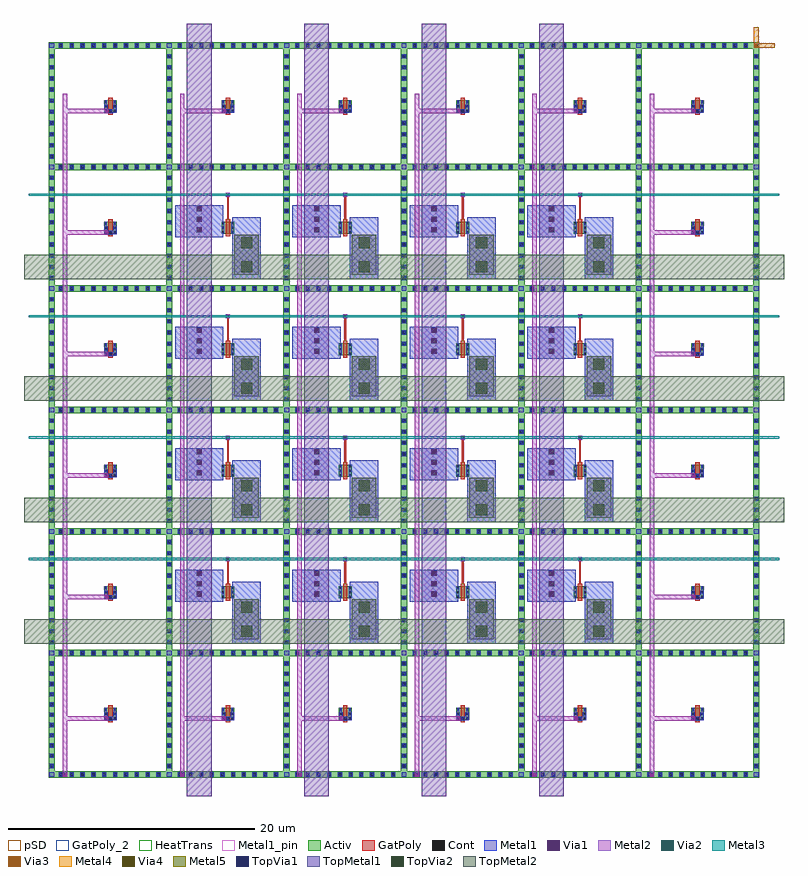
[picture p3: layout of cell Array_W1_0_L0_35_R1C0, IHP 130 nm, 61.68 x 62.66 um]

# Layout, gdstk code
import gdstk
lib = gdstk.Library(unit=1e-6, precision=1e-09)
def R(c, l, rs):  # rectangles x0, y0, x1, y1
    for r in rs: c.add(gdstk.rectangle(r[:2], r[2:], *l))
def A(c, l, x, y, w, h, nx, ny, dx, dy):  # array of equal rectangles
    R(c, l, [(x+i*dx, y+j*dy, x+i*dx+w, y+j*dy+h) for i in range(nx) for j in range(ny)])
Activ = (1, 0)
GatPoly = (5, 0)
GatPoly_2 = (5, 2)
Cont = (6, 0)
Metal1 = (8, 0)
Metal1_pin = (8, 2)
Metal2 = (10, 0)
pSD = (14, 0)
Via1 = (19, 0)
Via2 = (29, 0)
Metal3 = (30, 0)
Via3 = (49, 0)
Metal4 = (50, 0)
HeatTrans = (51, 0)
Via4 = (66, 0)
Metal5 = (67, 0)
TopVia1 = (125, 0)
TopMetal1 = (126, 0)
TopVia2 = (133, 0)
TopMetal2 = (134, 0)

array_w1_0_l0_35_r1c0 = lib.new_cell('Array_W1_0_L0_35_R1C0')
A(array_w1_0_l0_35_r1c0, Activ, 0, 0, 0.5, 59.66, 7, 1, 9.53, 0)
A(array_w1_0_l0_35_r1c0, Activ, 0, 0, 57.68, 0.5, 1, 7, 0, 9.86)
A(array_w1_0_l0_35_r1c0, Activ, 4.5, 4.68, 0.3, 0.3, 1, 6, 0, 9.86)
A(array_w1_0_l0_35_r1c0, Activ, 4.5, 4.68, 1.03, 1, 6, 6, 9.53, 9.86)
A(array_w1_0_l0_35_r1c0, Activ, 5.23, 4.68, 0.3, 0.3, 1, 6, 0, 9.86)
A(array_w1_0_l0_35_r1c0, Activ, 14.03, 4.68, 0.3, 0.3, 1, 6, 0, 9.86)
A(array_w1_0_l0_35_r1c0, Activ, 14.76, 4.68, 0.3, 0.3, 1, 6, 0, 9.86)
A(array_w1_0_l0_35_r1c0, Activ, 23.56, 4.68, 0.3, 0.3, 1, 6, 0, 9.86)
A(array_w1_0_l0_35_r1c0, Activ, 24.29, 4.68, 0.3, 0.3, 1, 6, 0, 9.86)
A(array_w1_0_l0_35_r1c0, Activ, 33.09, 4.68, 0.3, 0.3, 1, 6, 0, 9.86)
A(array_w1_0_l0_35_r1c0, Activ, 33.82, 4.68, 0.3, 0.3, 1, 6, 0, 9.86)
A(array_w1_0_l0_35_r1c0, Activ, 42.62, 4.68, 0.3, 0.3, 1, 6, 0, 9.86)
A(array_w1_0_l0_35_r1c0, Activ, 43.35, 4.68, 0.3, 0.3, 1, 6, 0, 9.86)
A(array_w1_0_l0_35_r1c0, Activ, 52.15, 4.68, 0.3, 0.3, 1, 6, 0, 9.86)
A(array_w1_0_l0_35_r1c0, Activ, 52.88, 4.68, 0.3, 0.3, 1, 6, 0, 9.86)
A(array_w1_0_l0_35_r1c0, GatPoly, 4.84, 4.5, 0.35, 1.36, 6, 6, 9.53, 9.86)
A(array_w1_0_l0_35_r1c0, GatPoly, 4.95, 4.78, 0.13, 0.2, 6, 2, 9.53, 49.3)
A(array_w1_0_l0_35_r1c0, GatPoly, 4.95, 14.64, 0.13, 0.2, 1, 4, 0, 9.86)
A(array_w1_0_l0_35_r1c0, GatPoly, 52.6, 14.64, 0.13, 0.2, 1, 4, 0, 9.86)
A(array_w1_0_l0_35_r1c0, GatPoly, 14.48, 15.72, 0.13, 2, 4, 4, 9.53, 9.86)
A(array_w1_0_l0_35_r1c0, GatPoly_2, 4.84, 4.5, 0.35, 1.36, 6, 6, 9.53, 9.86)
A(array_w1_0_l0_35_r1c0, Cont, 0.881, 0.14, 0.22, 0.22, 10, 7, 0.881, 9.86)
A(array_w1_0_l0_35_r1c0, Cont, 10.53, 0.14, 0.22, 0.22, 1, 7, 0, 9.86)
A(array_w1_0_l0_35_r1c0, Cont, 11.397, 0.14, 0.22, 0.22, 4, 7, 0.868, 9.86)
A(array_w1_0_l0_35_r1c0, Cont, 14.868, 0.14, 0.22, 0.22, 5, 7, 0.868, 9.86)
A(array_w1_0_l0_35_r1c0, Cont, 20.06, 0.14, 0.22, 0.22, 1, 7, 0, 9.86)
A(array_w1_0_l0_35_r1c0, Cont, 20.927, 0.14, 0.22, 0.22, 4, 7, 0.868, 9.86)
A(array_w1_0_l0_35_r1c0, Cont, 24.398, 0.14, 0.22, 0.22, 5, 7, 0.868, 9.86)
A(array_w1_0_l0_35_r1c0, Cont, 29.59, 0.14, 0.22, 0.22, 1, 7, 0, 9.86)
A(array_w1_0_l0_35_r1c0, Cont, 30.457, 0.14, 0.22, 0.22, 4, 7, 0.868, 9.86)
A(array_w1_0_l0_35_r1c0, Cont, 33.928, 0.14, 0.22, 0.22, 5, 7, 0.868, 9.86)
A(array_w1_0_l0_35_r1c0, Cont, 39.12, 0.14, 0.22, 0.22, 1, 7, 0, 9.86)
A(array_w1_0_l0_35_r1c0, Cont, 39.987, 0.14, 0.22, 0.22, 4, 7, 0.868, 9.86)
A(array_w1_0_l0_35_r1c0, Cont, 43.458, 0.14, 0.22, 0.22, 5, 7, 0.868, 9.86)
A(array_w1_0_l0_35_r1c0, Cont, 48.65, 0.14, 0.22, 0.22, 1, 7, 0, 9.86)
A(array_w1_0_l0_35_r1c0, Cont, 49.517, 0.14, 0.22, 0.22, 4, 7, 0.868, 9.86)
A(array_w1_0_l0_35_r1c0, Cont, 52.988, 0.14, 0.22, 0.22, 5, 7, 0.868, 9.86)
A(array_w1_0_l0_35_r1c0, Cont, 0.14, 0.83, 0.22, 0.22, 7, 11, 9.53, 0.831)
A(array_w1_0_l0_35_r1c0, Cont, 4.905, 4.67, 0.22, 0.22, 6, 2, 9.53, 49.3)
A(array_w1_0_l0_35_r1c0, Cont, 4.57, 4.75, 0.16, 0.16, 1, 3, 0, 0.35)
A(array_w1_0_l0_35_r1c0, Cont, 5.3, 4.75, 0.16, 0.16, 1, 3, 0, 0.35)
A(array_w1_0_l0_35_r1c0, Cont, 14.1, 4.75, 0.16, 0.16, 1, 3, 0, 0.35)
A(array_w1_0_l0_35_r1c0, Cont, 14.83, 4.75, 0.16, 0.16, 1, 3, 0, 0.35)
A(array_w1_0_l0_35_r1c0, Cont, 23.63, 4.75, 0.16, 0.16, 1, 3, 0, 0.35)
A(array_w1_0_l0_35_r1c0, Cont, 24.36, 4.75, 0.16, 0.16, 1, 3, 0, 0.35)
A(array_w1_0_l0_35_r1c0, Cont, 33.16, 4.75, 0.16, 0.16, 1, 3, 0, 0.35)
A(array_w1_0_l0_35_r1c0, Cont, 33.89, 4.75, 0.16, 0.16, 1, 3, 0, 0.35)
A(array_w1_0_l0_35_r1c0, Cont, 42.69, 4.75, 0.16, 0.16, 1, 3, 0, 0.35)
A(array_w1_0_l0_35_r1c0, Cont, 43.42, 4.75, 0.16, 0.16, 1, 3, 0, 0.35)
A(array_w1_0_l0_35_r1c0, Cont, 52.22, 4.75, 0.16, 0.16, 1, 3, 0, 0.35)
A(array_w1_0_l0_35_r1c0, Cont, 52.95, 4.75, 0.16, 0.16, 1, 3, 0, 0.35)
A(array_w1_0_l0_35_r1c0, Cont, 0.14, 10.86, 0.22, 0.22, 7, 3, 9.53, 0.904)
A(array_w1_0_l0_35_r1c0, Cont, 0.14, 13.573, 0.22, 0.22, 7, 2, 9.53, 0.904)
A(array_w1_0_l0_35_r1c0, Cont, 4.905, 14.53, 0.22, 0.22, 1, 4, 0, 9.86)
A(array_w1_0_l0_35_r1c0, Cont, 52.555, 14.53, 0.22, 0.22, 1, 4, 0, 9.86)
A(array_w1_0_l0_35_r1c0, Cont, 4.57, 14.61, 0.16, 0.16, 1, 3, 0, 0.35)
A(array_w1_0_l0_35_r1c0, Cont, 5.3, 14.61, 0.16, 0.16, 1, 3, 0, 0.35)
A(array_w1_0_l0_35_r1c0, Cont, 14.1, 14.61, 0.16, 0.16, 1, 3, 0, 0.35)
A(array_w1_0_l0_35_r1c0, Cont, 14.83, 14.61, 0.16, 0.16, 1, 3, 0, 0.35)
A(array_w1_0_l0_35_r1c0, Cont, 23.63, 14.61, 0.16, 0.16, 1, 3, 0, 0.35)
A(array_w1_0_l0_35_r1c0, Cont, 24.36, 14.61, 0.16, 0.16, 1, 3, 0, 0.35)
A(array_w1_0_l0_35_r1c0, Cont, 33.16, 14.61, 0.16, 0.16, 1, 3, 0, 0.35)
A(array_w1_0_l0_35_r1c0, Cont, 33.89, 14.61, 0.16, 0.16, 1, 3, 0, 0.35)
A(array_w1_0_l0_35_r1c0, Cont, 42.69, 14.61, 0.16, 0.16, 1, 3, 0, 0.35)
A(array_w1_0_l0_35_r1c0, Cont, 43.42, 14.61, 0.16, 0.16, 1, 3, 0, 0.35)
A(array_w1_0_l0_35_r1c0, Cont, 52.22, 14.61, 0.16, 0.16, 1, 3, 0, 0.35)
A(array_w1_0_l0_35_r1c0, Cont, 52.95, 14.61, 0.16, 0.16, 1, 3, 0, 0.35)
A(array_w1_0_l0_35_r1c0, Cont, 0.14, 15.382, 0.22, 0.22, 7, 2, 9.53, 0.904)
A(array_w1_0_l0_35_r1c0, Cont, 0.14, 17.191, 0.22, 0.22, 7, 2, 9.53, 0.904)
A(array_w1_0_l0_35_r1c0, Cont, 14.435, 17.61, 0.22, 0.22, 4, 4, 9.53, 9.86)
A(array_w1_0_l0_35_r1c0, Cont, 0.14, 19, 0.22, 0.22, 7, 2, 9.53, 1.72)
A(array_w1_0_l0_35_r1c0, Cont, 0.14, 21.624, 0.22, 0.22, 7, 2, 9.53, 0.904)
A(array_w1_0_l0_35_r1c0, Cont, 0.14, 23.433, 0.22, 0.22, 7, 2, 9.53, 0.904)
A(array_w1_0_l0_35_r1c0, Cont, 4.57, 24.47, 0.16, 0.16, 1, 3, 0, 0.35)
A(array_w1_0_l0_35_r1c0, Cont, 5.3, 24.47, 0.16, 0.16, 1, 3, 0, 0.35)
A(array_w1_0_l0_35_r1c0, Cont, 14.1, 24.47, 0.16, 0.16, 1, 3, 0, 0.35)
A(array_w1_0_l0_35_r1c0, Cont, 14.83, 24.47, 0.16, 0.16, 1, 3, 0, 0.35)
A(array_w1_0_l0_35_r1c0, Cont, 23.63, 24.47, 0.16, 0.16, 1, 3, 0, 0.35)
A(array_w1_0_l0_35_r1c0, Cont, 24.36, 24.47, 0.16, 0.16, 1, 3, 0, 0.35)
A(array_w1_0_l0_35_r1c0, Cont, 33.16, 24.47, 0.16, 0.16, 1, 3, 0, 0.35)
A(array_w1_0_l0_35_r1c0, Cont, 33.89, 24.47, 0.16, 0.16, 1, 3, 0, 0.35)
A(array_w1_0_l0_35_r1c0, Cont, 42.69, 24.47, 0.16, 0.16, 1, 3, 0, 0.35)
A(array_w1_0_l0_35_r1c0, Cont, 43.42, 24.47, 0.16, 0.16, 1, 3, 0, 0.35)
A(array_w1_0_l0_35_r1c0, Cont, 52.22, 24.47, 0.16, 0.16, 1, 3, 0, 0.35)
A(array_w1_0_l0_35_r1c0, Cont, 52.95, 24.47, 0.16, 0.16, 1, 3, 0, 0.35)
A(array_w1_0_l0_35_r1c0, Cont, 0.14, 25.242, 0.22, 0.22, 7, 2, 9.53, 0.904)
A(array_w1_0_l0_35_r1c0, Cont, 0.14, 27.051, 0.22, 0.22, 7, 2, 9.53, 0.904)
A(array_w1_0_l0_35_r1c0, Cont, 0.14, 28.86, 0.22, 0.22, 7, 2, 9.53, 1.72)
A(array_w1_0_l0_35_r1c0, Cont, 0.14, 31.484, 0.22, 0.22, 7, 2, 9.53, 0.904)
A(array_w1_0_l0_35_r1c0, Cont, 0.14, 33.293, 0.22, 0.22, 7, 2, 9.53, 0.904)
A(array_w1_0_l0_35_r1c0, Cont, 4.57, 34.33, 0.16, 0.16, 1, 3, 0, 0.35)
A(array_w1_0_l0_35_r1c0, Cont, 5.3, 34.33, 0.16, 0.16, 1, 3, 0, 0.35)
A(array_w1_0_l0_35_r1c0, Cont, 14.1, 34.33, 0.16, 0.16, 1, 3, 0, 0.35)
A(array_w1_0_l0_35_r1c0, Cont, 14.83, 34.33, 0.16, 0.16, 1, 3, 0, 0.35)
A(array_w1_0_l0_35_r1c0, Cont, 23.63, 34.33, 0.16, 0.16, 1, 3, 0, 0.35)
A(array_w1_0_l0_35_r1c0, Cont, 24.36, 34.33, 0.16, 0.16, 1, 3, 0, 0.35)
A(array_w1_0_l0_35_r1c0, Cont, 33.16, 34.33, 0.16, 0.16, 1, 3, 0, 0.35)
A(array_w1_0_l0_35_r1c0, Cont, 33.89, 34.33, 0.16, 0.16, 1, 3, 0, 0.35)
A(array_w1_0_l0_35_r1c0, Cont, 42.69, 34.33, 0.16, 0.16, 1, 3, 0, 0.35)
A(array_w1_0_l0_35_r1c0, Cont, 43.42, 34.33, 0.16, 0.16, 1, 3, 0, 0.35)
A(array_w1_0_l0_35_r1c0, Cont, 52.22, 34.33, 0.16, 0.16, 1, 3, 0, 0.35)
A(array_w1_0_l0_35_r1c0, Cont, 52.95, 34.33, 0.16, 0.16, 1, 3, 0, 0.35)
A(array_w1_0_l0_35_r1c0, Cont, 0.14, 35.102, 0.22, 0.22, 7, 2, 9.53, 0.904)
A(array_w1_0_l0_35_r1c0, Cont, 0.14, 36.911, 0.22, 0.22, 7, 2, 9.53, 0.904)
A(array_w1_0_l0_35_r1c0, Cont, 0.14, 38.72, 0.22, 0.22, 7, 2, 9.53, 1.72)
A(array_w1_0_l0_35_r1c0, Cont, 0.14, 41.344, 0.22, 0.22, 7, 2, 9.53, 0.904)
A(array_w1_0_l0_35_r1c0, Cont, 0.14, 43.153, 0.22, 0.22, 7, 2, 9.53, 0.904)
A(array_w1_0_l0_35_r1c0, Cont, 4.57, 44.19, 0.16, 0.16, 1, 3, 0, 0.35)
A(array_w1_0_l0_35_r1c0, Cont, 5.3, 44.19, 0.16, 0.16, 1, 3, 0, 0.35)
A(array_w1_0_l0_35_r1c0, Cont, 14.1, 44.19, 0.16, 0.16, 1, 3, 0, 0.35)
A(array_w1_0_l0_35_r1c0, Cont, 14.83, 44.19, 0.16, 0.16, 1, 3, 0, 0.35)
A(array_w1_0_l0_35_r1c0, Cont, 23.63, 44.19, 0.16, 0.16, 1, 3, 0, 0.35)
A(array_w1_0_l0_35_r1c0, Cont, 24.36, 44.19, 0.16, 0.16, 1, 3, 0, 0.35)
A(array_w1_0_l0_35_r1c0, Cont, 33.16, 44.19, 0.16, 0.16, 1, 3, 0, 0.35)
A(array_w1_0_l0_35_r1c0, Cont, 33.89, 44.19, 0.16, 0.16, 1, 3, 0, 0.35)
A(array_w1_0_l0_35_r1c0, Cont, 42.69, 44.19, 0.16, 0.16, 1, 3, 0, 0.35)
A(array_w1_0_l0_35_r1c0, Cont, 43.42, 44.19, 0.16, 0.16, 1, 3, 0, 0.35)
A(array_w1_0_l0_35_r1c0, Cont, 52.22, 44.19, 0.16, 0.16, 1, 3, 0, 0.35)
A(array_w1_0_l0_35_r1c0, Cont, 52.95, 44.19, 0.16, 0.16, 1, 3, 0, 0.35)
A(array_w1_0_l0_35_r1c0, Cont, 0.14, 44.962, 0.22, 0.22, 7, 2, 9.53, 0.904)
A(array_w1_0_l0_35_r1c0, Cont, 0.14, 46.771, 0.22, 0.22, 7, 2, 9.53, 0.904)
A(array_w1_0_l0_35_r1c0, Cont, 0.14, 48.58, 0.22, 0.22, 7, 2, 9.53, 1.72)
A(array_w1_0_l0_35_r1c0, Cont, 0.14, 51.204, 0.22, 0.22, 7, 2, 9.53, 0.904)
A(array_w1_0_l0_35_r1c0, Cont, 0.14, 53.013, 0.22, 0.22, 7, 2, 9.53, 0.904)
A(array_w1_0_l0_35_r1c0, Cont, 4.57, 54.05, 0.16, 0.16, 1, 3, 0, 0.35)
A(array_w1_0_l0_35_r1c0, Cont, 5.3, 54.05, 0.16, 0.16, 1, 3, 0, 0.35)
A(array_w1_0_l0_35_r1c0, Cont, 14.1, 54.05, 0.16, 0.16, 1, 3, 0, 0.35)
A(array_w1_0_l0_35_r1c0, Cont, 14.83, 54.05, 0.16, 0.16, 1, 3, 0, 0.35)
A(array_w1_0_l0_35_r1c0, Cont, 23.63, 54.05, 0.16, 0.16, 1, 3, 0, 0.35)
A(array_w1_0_l0_35_r1c0, Cont, 24.36, 54.05, 0.16, 0.16, 1, 3, 0, 0.35)
A(array_w1_0_l0_35_r1c0, Cont, 33.16, 54.05, 0.16, 0.16, 1, 3, 0, 0.35)
A(array_w1_0_l0_35_r1c0, Cont, 33.89, 54.05, 0.16, 0.16, 1, 3, 0, 0.35)
A(array_w1_0_l0_35_r1c0, Cont, 42.69, 54.05, 0.16, 0.16, 1, 3, 0, 0.35)
A(array_w1_0_l0_35_r1c0, Cont, 43.42, 54.05, 0.16, 0.16, 1, 3, 0, 0.35)
A(array_w1_0_l0_35_r1c0, Cont, 52.22, 54.05, 0.16, 0.16, 1, 3, 0, 0.35)
A(array_w1_0_l0_35_r1c0, Cont, 52.95, 54.05, 0.16, 0.16, 1, 3, 0, 0.35)
A(array_w1_0_l0_35_r1c0, Cont, 0.14, 54.822, 0.22, 0.22, 7, 2, 9.53, 0.904)
A(array_w1_0_l0_35_r1c0, Cont, 0.14, 56.631, 0.22, 0.22, 7, 2, 9.53, 0.904)
A(array_w1_0_l0_35_r1c0, Cont, 0.14, 58.44, 0.22, 0.22, 7, 1, 9.53, 0)
A(array_w1_0_l0_35_r1c0, Metal1, 0.821, 0.08, 0.34, 0.34, 10, 7, 0.881, 9.86)
A(array_w1_0_l0_35_r1c0, Metal1, 10.47, 0.08, 0.34, 0.34, 1, 7, 0, 9.86)
A(array_w1_0_l0_35_r1c0, Metal1, 11.337, 0.08, 0.34, 0.34, 4, 7, 0.868, 9.86)
A(array_w1_0_l0_35_r1c0, Metal1, 14.808, 0.08, 0.34, 0.34, 5, 7, 0.868, 9.86)
A(array_w1_0_l0_35_r1c0, Metal1, 20, 0.08, 0.34, 0.34, 1, 7, 0, 9.86)
A(array_w1_0_l0_35_r1c0, Metal1, 20.867, 0.08, 0.34, 0.34, 4, 7, 0.868, 9.86)
A(array_w1_0_l0_35_r1c0, Metal1, 24.338, 0.08, 0.34, 0.34, 5, 7, 0.868, 9.86)
A(array_w1_0_l0_35_r1c0, Metal1, 29.53, 0.08, 0.34, 0.34, 1, 7, 0, 9.86)
A(array_w1_0_l0_35_r1c0, Metal1, 30.397, 0.08, 0.34, 0.34, 4, 7, 0.868, 9.86)
A(array_w1_0_l0_35_r1c0, Metal1, 33.868, 0.08, 0.34, 0.34, 5, 7, 0.868, 9.86)
A(array_w1_0_l0_35_r1c0, Metal1, 39.06, 0.08, 0.34, 0.34, 1, 7, 0, 9.86)
A(array_w1_0_l0_35_r1c0, Metal1, 39.927, 0.08, 0.34, 0.34, 4, 7, 0.868, 9.86)
A(array_w1_0_l0_35_r1c0, Metal1, 43.398, 0.08, 0.34, 0.34, 5, 7, 0.868, 9.86)
A(array_w1_0_l0_35_r1c0, Metal1, 48.59, 0.08, 0.34, 0.34, 1, 7, 0, 9.86)
A(array_w1_0_l0_35_r1c0, Metal1, 49.457, 0.08, 0.34, 0.34, 4, 7, 0.868, 9.86)
A(array_w1_0_l0_35_r1c0, Metal1, 52.928, 0.08, 0.34, 0.34, 5, 7, 0.868, 9.86)
A(array_w1_0_l0_35_r1c0, Metal1, 0.08, 0.77, 0.34, 0.34, 7, 11, 9.53, 0.831)
A(array_w1_0_l0_35_r1c0, Metal1, 4.845, 4.61, 0.34, 0.34, 6, 2, 9.53, 49.3)
A(array_w1_0_l0_35_r1c0, Metal1, 4.51, 4.64, 0.28, 0.68, 1, 6, 0, 9.86)
A(array_w1_0_l0_35_r1c0, Metal1, 4.51, 4.64, 1.01, 0.28, 6, 2, 9.53, 49.3)
A(array_w1_0_l0_35_r1c0, Metal1, 5.24, 4.64, 0.28, 0.68, 1, 6, 0, 9.86)
A(array_w1_0_l0_35_r1c0, Metal1, 52.16, 4.64, 0.28, 0.68, 1, 6, 0, 9.86)
A(array_w1_0_l0_35_r1c0, Metal1, 52.89, 4.64, 0.28, 0.68, 1, 6, 0, 9.86)
A(array_w1_0_l0_35_r1c0, Metal1, 4.57, 4.68, 0.16, 1, 1, 6, 0, 9.86)
A(array_w1_0_l0_35_r1c0, Metal1, 5.3, 4.68, 0.16, 1, 1, 6, 0, 9.86)
A(array_w1_0_l0_35_r1c0, Metal1, 14.1, 4.68, 0.16, 1, 1, 6, 0, 9.86)
A(array_w1_0_l0_35_r1c0, Metal1, 14.83, 4.68, 0.16, 1, 1, 6, 0, 9.86)
A(array_w1_0_l0_35_r1c0, Metal1, 23.63, 4.68, 0.16, 1, 1, 6, 0, 9.86)
A(array_w1_0_l0_35_r1c0, Metal1, 24.36, 4.68, 0.16, 1, 1, 6, 0, 9.86)
A(array_w1_0_l0_35_r1c0, Metal1, 33.16, 4.68, 0.16, 1, 1, 6, 0, 9.86)
A(array_w1_0_l0_35_r1c0, Metal1, 33.89, 4.68, 0.16, 1, 1, 6, 0, 9.86)
A(array_w1_0_l0_35_r1c0, Metal1, 42.69, 4.68, 0.16, 1, 1, 6, 0, 9.86)
A(array_w1_0_l0_35_r1c0, Metal1, 43.42, 4.68, 0.16, 1, 1, 6, 0, 9.86)
A(array_w1_0_l0_35_r1c0, Metal1, 52.22, 4.68, 0.16, 1, 1, 6, 0, 9.86)
A(array_w1_0_l0_35_r1c0, Metal1, 52.95, 4.68, 0.16, 1, 1, 6, 0, 9.86)
A(array_w1_0_l0_35_r1c0, Metal1, 0.05, 9.91, 0.4, 0.4, 7, 6, 9.53, 9.86)
A(array_w1_0_l0_35_r1c0, Metal1, 0.08, 10.8, 0.34, 0.34, 7, 3, 9.53, 0.904)
A(array_w1_0_l0_35_r1c0, Metal1, 14.91, 10.86, 2.32, 5.02, 4, 4, 9.53, 9.86)
A(array_w1_0_l0_35_r1c0, Metal1, 0.08, 13.513, 0.34, 0.34, 7, 2, 9.53, 0.904)
A(array_w1_0_l0_35_r1c0, Metal1, 10.26, 14.26, 3.92, 2.61, 4, 4, 9.53, 9.86)
A(array_w1_0_l0_35_r1c0, Metal1, 4.845, 14.47, 0.34, 0.34, 1, 4, 0, 9.86)
A(array_w1_0_l0_35_r1c0, Metal1, 52.495, 14.47, 0.34, 0.34, 1, 4, 0, 9.86)
A(array_w1_0_l0_35_r1c0, Metal1, 4.51, 14.5, 1.01, 0.28, 1, 4, 0, 9.86)
A(array_w1_0_l0_35_r1c0, Metal1, 52.16, 14.5, 1.01, 0.28, 1, 4, 0, 9.86)
A(array_w1_0_l0_35_r1c0, Metal1, 0.08, 15.322, 0.34, 0.34, 7, 2, 9.53, 0.904)
A(array_w1_0_l0_35_r1c0, Metal1, 0.08, 17.131, 0.34, 0.34, 7, 2, 9.53, 0.904)
A(array_w1_0_l0_35_r1c0, Metal1, 14.385, 17.56, 0.32, 0.32, 4, 4, 9.53, 9.86)
A(array_w1_0_l0_35_r1c0, Metal1, 0.08, 18.94, 0.34, 0.34, 7, 2, 9.53, 1.72)
A(array_w1_0_l0_35_r1c0, Metal1, 0.08, 21.564, 0.34, 0.34, 7, 2, 9.53, 0.904)
A(array_w1_0_l0_35_r1c0, Metal1, 0.08, 23.373, 0.34, 0.34, 7, 2, 9.53, 0.904)
A(array_w1_0_l0_35_r1c0, Metal1, 0.08, 25.182, 0.34, 0.34, 7, 2, 9.53, 0.904)
A(array_w1_0_l0_35_r1c0, Metal1, 0.08, 26.991, 0.34, 0.34, 7, 2, 9.53, 0.904)
A(array_w1_0_l0_35_r1c0, Metal1, 0.08, 28.8, 0.34, 0.34, 7, 2, 9.53, 1.72)
A(array_w1_0_l0_35_r1c0, Metal1, 0.08, 31.424, 0.34, 0.34, 7, 2, 9.53, 0.904)
A(array_w1_0_l0_35_r1c0, Metal1, 0.08, 33.233, 0.34, 0.34, 7, 2, 9.53, 0.904)
A(array_w1_0_l0_35_r1c0, Metal1, 0.08, 35.042, 0.34, 0.34, 7, 2, 9.53, 0.904)
A(array_w1_0_l0_35_r1c0, Metal1, 0.08, 36.851, 0.34, 0.34, 7, 2, 9.53, 0.904)
A(array_w1_0_l0_35_r1c0, Metal1, 0.08, 38.66, 0.34, 0.34, 7, 2, 9.53, 1.72)
A(array_w1_0_l0_35_r1c0, Metal1, 0.08, 41.284, 0.34, 0.34, 7, 2, 9.53, 0.904)
A(array_w1_0_l0_35_r1c0, Metal1, 0.08, 43.093, 0.34, 0.34, 7, 2, 9.53, 0.904)
A(array_w1_0_l0_35_r1c0, Metal1, 0.08, 44.902, 0.34, 0.34, 7, 2, 9.53, 0.904)
A(array_w1_0_l0_35_r1c0, Metal1, 0.08, 46.711, 0.34, 0.34, 7, 2, 9.53, 0.904)
A(array_w1_0_l0_35_r1c0, Metal1, 0.08, 48.52, 0.34, 0.34, 7, 2, 9.53, 1.72)
A(array_w1_0_l0_35_r1c0, Metal1, 0.08, 51.144, 0.34, 0.34, 7, 2, 9.53, 0.904)
A(array_w1_0_l0_35_r1c0, Metal1, 0.08, 52.953, 0.34, 0.34, 7, 2, 9.53, 0.904)
A(array_w1_0_l0_35_r1c0, Metal1, 0.08, 54.762, 0.34, 0.34, 7, 2, 9.53, 0.904)
A(array_w1_0_l0_35_r1c0, Metal1, 0.08, 56.571, 0.34, 0.34, 7, 2, 9.53, 0.904)
A(array_w1_0_l0_35_r1c0, Metal1, 0.08, 58.38, 0.34, 0.34, 7, 1, 9.53, 0)
R(array_w1_0_l0_35_r1c0, Metal1, [(0.05,0.05,0.45,0.45), (1.115,0.05,1.515,0.45), (9.58,0.05,9.98,0.45), (10.645,0.05,11.045,0.45), (19.11,0.05,19.51,0.45), (20.175,0.05,20.575,0.45), (28.64,0.05,29.04,0.45), (29.705,0.05,30.105,0.45), (38.17,0.05,38.57,0.45), (39.235,0.05,39.635,0.45), (47.7,0.05,48.1,0.45), (48.765,0.05,49.165,0.45), (57.23,0.05,57.63,0.45), (14.04,4.64,14.32,5.32), (14.77,4.64,15.05,5.32), (23.57,4.64,23.85,5.32), (24.3,4.64,24.58,5.32), (33.1,4.64,33.38,5.32), (33.83,4.64,34.11,5.32), (42.63,4.64,42.91,5.32), (43.36,4.64,43.64,5.32), (14.04,53.94,14.32,54.62), (14.77,53.94,15.05,54.62), (23.57,53.94,23.85,54.62), (24.3,53.94,24.58,54.62), (33.1,53.94,33.38,54.62), (33.83,53.94,34.11,54.62), (42.63,53.94,42.91,54.62), (43.36,53.94,43.64,54.62)])
A(array_w1_0_l0_35_r1c0, Metal1_pin, 4.57, 4.68, 0.16, 1, 1, 6, 0, 9.86)
A(array_w1_0_l0_35_r1c0, Metal1_pin, 5.3, 4.68, 0.16, 1, 1, 6, 0, 9.86)
A(array_w1_0_l0_35_r1c0, Metal1_pin, 14.1, 4.68, 0.16, 1, 1, 6, 0, 9.86)
A(array_w1_0_l0_35_r1c0, Metal1_pin, 14.83, 4.68, 0.16, 1, 1, 6, 0, 9.86)
A(array_w1_0_l0_35_r1c0, Metal1_pin, 23.63, 4.68, 0.16, 1, 1, 6, 0, 9.86)
A(array_w1_0_l0_35_r1c0, Metal1_pin, 24.36, 4.68, 0.16, 1, 1, 6, 0, 9.86)
A(array_w1_0_l0_35_r1c0, Metal1_pin, 33.16, 4.68, 0.16, 1, 1, 6, 0, 9.86)
A(array_w1_0_l0_35_r1c0, Metal1_pin, 33.89, 4.68, 0.16, 1, 1, 6, 0, 9.86)
A(array_w1_0_l0_35_r1c0, Metal1_pin, 42.69, 4.68, 0.16, 1, 1, 6, 0, 9.86)
A(array_w1_0_l0_35_r1c0, Metal1_pin, 43.42, 4.68, 0.16, 1, 1, 6, 0, 9.86)
A(array_w1_0_l0_35_r1c0, Metal1_pin, 52.22, 4.68, 0.16, 1, 1, 6, 0, 9.86)
A(array_w1_0_l0_35_r1c0, Metal1_pin, 52.95, 4.68, 0.16, 1, 1, 6, 0, 9.86)
A(array_w1_0_l0_35_r1c0, Metal2, 1.135, 0.07, 0.36, 55.41, 6, 1, 9.53, 0)
A(array_w1_0_l0_35_r1c0, Metal2, 1.135, 4.6, 3.695, 0.36, 6, 2, 9.53, 49.3)
A(array_w1_0_l0_35_r1c0, Metal2, 15.915, 11.705, 0.31, 0.31, 4, 2, 9.53, 1.96)
A(array_w1_0_l0_35_r1c0, Metal2, 1.135, 14.46, 3.695, 0.36, 1, 4, 0, 9.86)
A(array_w1_0_l0_35_r1c0, Metal2, 48.785, 14.46, 3.695, 0.36, 1, 4, 0, 9.86)
A(array_w1_0_l0_35_r1c0, Metal2, 12.065, 14.735, 0.31, 0.31, 4, 3, 9.53, 0.84)
A(array_w1_0_l0_35_r1c0, Metal2, 14.4, 17.575, 0.29, 0.29, 4, 4, 9.53, 9.86)
A(array_w1_0_l0_35_r1c0, Metal2, 15.915, 21.565, 0.31, 0.31, 4, 2, 9.53, 1.96)
A(array_w1_0_l0_35_r1c0, Metal2, 12.065, 24.595, 0.31, 0.31, 4, 3, 9.53, 0.84)
A(array_w1_0_l0_35_r1c0, Metal2, 15.915, 31.425, 0.31, 0.31, 4, 2, 9.53, 1.96)
A(array_w1_0_l0_35_r1c0, Metal2, 12.065, 34.455, 0.31, 0.31, 4, 3, 9.53, 0.84)
A(array_w1_0_l0_35_r1c0, Metal2, 15.915, 41.285, 0.31, 0.31, 4, 2, 9.53, 1.96)
A(array_w1_0_l0_35_r1c0, Metal2, 12.065, 44.315, 0.31, 0.31, 4, 3, 9.53, 0.84)
R(array_w1_0_l0_35_r1c0, Metal2, [(57.25,59.23,57.61,59.59)])
A(array_w1_0_l0_35_r1c0, pSD, 0, 0, 0.5, 59.66, 7, 1, 9.53, 0)
A(array_w1_0_l0_35_r1c0, pSD, 0, 0, 57.68, 0.5, 1, 7, 0, 9.86)
A(array_w1_0_l0_35_r1c0, Via1, 1.22, 0.155, 0.19, 0.19, 6, 1, 9.53, 0)
A(array_w1_0_l0_35_r1c0, Via1, 4.555, 4.685, 0.19, 0.19, 6, 2, 9.53, 49.3)
A(array_w1_0_l0_35_r1c0, Via1, 15.975, 11.765, 0.19, 0.19, 4, 2, 9.53, 1.96)
A(array_w1_0_l0_35_r1c0, Via1, 4.555, 14.545, 0.19, 0.19, 1, 4, 0, 9.86)
A(array_w1_0_l0_35_r1c0, Via1, 52.205, 14.545, 0.19, 0.19, 1, 4, 0, 9.86)
A(array_w1_0_l0_35_r1c0, Via1, 12.125, 14.795, 0.19, 0.19, 4, 3, 9.53, 0.84)
A(array_w1_0_l0_35_r1c0, Via1, 14.45, 17.625, 0.19, 0.19, 4, 4, 9.53, 9.86)
A(array_w1_0_l0_35_r1c0, Via1, 15.975, 21.625, 0.19, 0.19, 4, 2, 9.53, 1.96)
A(array_w1_0_l0_35_r1c0, Via1, 12.125, 24.655, 0.19, 0.19, 4, 3, 9.53, 0.84)
A(array_w1_0_l0_35_r1c0, Via1, 15.975, 31.485, 0.19, 0.19, 4, 2, 9.53, 1.96)
A(array_w1_0_l0_35_r1c0, Via1, 12.125, 34.515, 0.19, 0.19, 4, 3, 9.53, 0.84)
A(array_w1_0_l0_35_r1c0, Via1, 15.975, 41.345, 0.19, 0.19, 4, 2, 9.53, 1.96)
A(array_w1_0_l0_35_r1c0, Via1, 12.125, 44.375, 0.19, 0.19, 4, 3, 9.53, 0.84)
R(array_w1_0_l0_35_r1c0, Via1, [(57.335,59.315,57.525,59.505)])
A(array_w1_0_l0_35_r1c0, Via2, 15.975, 11.765, 0.19, 0.19, 4, 2, 9.53, 1.96)
A(array_w1_0_l0_35_r1c0, Via2, 12.125, 14.795, 0.19, 0.19, 4, 3, 9.53, 0.84)
A(array_w1_0_l0_35_r1c0, Via2, 14.45, 17.625, 0.19, 0.19, 4, 4, 9.53, 9.86)
A(array_w1_0_l0_35_r1c0, Via2, 15.975, 21.625, 0.19, 0.19, 4, 2, 9.53, 1.96)
A(array_w1_0_l0_35_r1c0, Via2, 12.125, 24.655, 0.19, 0.19, 4, 3, 9.53, 0.84)
A(array_w1_0_l0_35_r1c0, Via2, 15.975, 31.485, 0.19, 0.19, 4, 2, 9.53, 1.96)
A(array_w1_0_l0_35_r1c0, Via2, 12.125, 34.515, 0.19, 0.19, 4, 3, 9.53, 0.84)
A(array_w1_0_l0_35_r1c0, Via2, 15.975, 41.345, 0.19, 0.19, 4, 2, 9.53, 1.96)
A(array_w1_0_l0_35_r1c0, Via2, 12.125, 44.375, 0.19, 0.19, 4, 3, 9.53, 0.84)
R(array_w1_0_l0_35_r1c0, Via2, [(57.335,59.315,57.525,59.505)])
A(array_w1_0_l0_35_r1c0, Metal3, 15.915, 11.705, 0.31, 0.31, 4, 2, 9.53, 1.96)
A(array_w1_0_l0_35_r1c0, Metal3, 12.065, 14.735, 0.31, 0.31, 4, 3, 9.53, 0.84)
A(array_w1_0_l0_35_r1c0, Metal3, -1.6, 17.62, 60.88, 0.2, 1, 4, 0, 9.86)
A(array_w1_0_l0_35_r1c0, Metal3, 14.445, 17.62, 0.2, 0.2, 4, 4, 9.53, 9.86)
A(array_w1_0_l0_35_r1c0, Metal3, 15.915, 21.565, 0.31, 0.31, 4, 2, 9.53, 1.96)
A(array_w1_0_l0_35_r1c0, Metal3, 12.065, 24.595, 0.31, 0.31, 4, 3, 9.53, 0.84)
A(array_w1_0_l0_35_r1c0, Metal3, 15.915, 31.425, 0.31, 0.31, 4, 2, 9.53, 1.96)
A(array_w1_0_l0_35_r1c0, Metal3, 12.065, 34.455, 0.31, 0.31, 4, 3, 9.53, 0.84)
A(array_w1_0_l0_35_r1c0, Metal3, 15.915, 41.285, 0.31, 0.31, 4, 2, 9.53, 1.96)
A(array_w1_0_l0_35_r1c0, Metal3, 12.065, 44.315, 0.31, 0.31, 4, 3, 9.53, 0.84)
R(array_w1_0_l0_35_r1c0, Metal3, [(57.33,59.31,57.53,59.51)])
A(array_w1_0_l0_35_r1c0, Via3, 15.975, 11.765, 0.19, 0.19, 4, 2, 9.53, 1.96)
A(array_w1_0_l0_35_r1c0, Via3, 12.125, 14.795, 0.19, 0.19, 4, 3, 9.53, 0.84)
A(array_w1_0_l0_35_r1c0, Via3, 15.975, 21.625, 0.19, 0.19, 4, 2, 9.53, 1.96)
A(array_w1_0_l0_35_r1c0, Via3, 12.125, 24.655, 0.19, 0.19, 4, 3, 9.53, 0.84)
A(array_w1_0_l0_35_r1c0, Via3, 15.975, 31.485, 0.19, 0.19, 4, 2, 9.53, 1.96)
A(array_w1_0_l0_35_r1c0, Via3, 12.125, 34.515, 0.19, 0.19, 4, 3, 9.53, 0.84)
A(array_w1_0_l0_35_r1c0, Via3, 15.975, 41.345, 0.19, 0.19, 4, 2, 9.53, 1.96)
A(array_w1_0_l0_35_r1c0, Via3, 12.125, 44.375, 0.19, 0.19, 4, 3, 9.53, 0.84)
R(array_w1_0_l0_35_r1c0, Via3, [(57.335,59.315,57.525,59.505)])
A(array_w1_0_l0_35_r1c0, Metal4, 15.915, 11.705, 0.31, 0.31, 4, 2, 9.53, 1.96)
A(array_w1_0_l0_35_r1c0, Metal4, 12.065, 14.735, 0.31, 0.31, 4, 3, 9.53, 0.84)
A(array_w1_0_l0_35_r1c0, Metal4, 15.915, 21.565, 0.31, 0.31, 4, 2, 9.53, 1.96)
A(array_w1_0_l0_35_r1c0, Metal4, 12.065, 24.595, 0.31, 0.31, 4, 3, 9.53, 0.84)
A(array_w1_0_l0_35_r1c0, Metal4, 15.915, 31.425, 0.31, 0.31, 4, 2, 9.53, 1.96)
A(array_w1_0_l0_35_r1c0, Metal4, 12.065, 34.455, 0.31, 0.31, 4, 3, 9.53, 0.84)
A(array_w1_0_l0_35_r1c0, Metal4, 15.915, 41.285, 0.31, 0.31, 4, 2, 9.53, 1.96)
A(array_w1_0_l0_35_r1c0, Metal4, 12.065, 44.315, 0.31, 0.31, 4, 3, 9.53, 0.84)
R(array_w1_0_l0_35_r1c0, Metal4, [(57.23,59.21,58.93,59.61), (57.23,59.21,57.63,60.91)])
A(array_w1_0_l0_35_r1c0, HeatTrans, 4.84, 4.5, 0.35, 1.36, 6, 6, 9.53, 9.86)
A(array_w1_0_l0_35_r1c0, Via4, 15.975, 11.765, 0.19, 0.19, 4, 2, 9.53, 1.96)
A(array_w1_0_l0_35_r1c0, Via4, 12.125, 14.795, 0.19, 0.19, 4, 3, 9.53, 0.84)
A(array_w1_0_l0_35_r1c0, Via4, 15.975, 21.625, 0.19, 0.19, 4, 2, 9.53, 1.96)
A(array_w1_0_l0_35_r1c0, Via4, 12.125, 24.655, 0.19, 0.19, 4, 3, 9.53, 0.84)
A(array_w1_0_l0_35_r1c0, Via4, 15.975, 31.485, 0.19, 0.19, 4, 2, 9.53, 1.96)
A(array_w1_0_l0_35_r1c0, Via4, 12.125, 34.515, 0.19, 0.19, 4, 3, 9.53, 0.84)
A(array_w1_0_l0_35_r1c0, Via4, 15.975, 41.345, 0.19, 0.19, 4, 2, 9.53, 1.96)
A(array_w1_0_l0_35_r1c0, Via4, 12.125, 44.375, 0.19, 0.19, 4, 3, 9.53, 0.84)
A(array_w1_0_l0_35_r1c0, Metal5, 15.915, 11.705, 0.31, 0.31, 4, 2, 9.53, 1.96)
A(array_w1_0_l0_35_r1c0, Metal5, 12.065, 14.735, 0.31, 0.31, 4, 3, 9.53, 0.84)
A(array_w1_0_l0_35_r1c0, Metal5, 15.915, 21.565, 0.31, 0.31, 4, 2, 9.53, 1.96)
A(array_w1_0_l0_35_r1c0, Metal5, 12.065, 24.595, 0.31, 0.31, 4, 3, 9.53, 0.84)
A(array_w1_0_l0_35_r1c0, Metal5, 15.915, 31.425, 0.31, 0.31, 4, 2, 9.53, 1.96)
A(array_w1_0_l0_35_r1c0, Metal5, 12.065, 34.455, 0.31, 0.31, 4, 3, 9.53, 0.84)
A(array_w1_0_l0_35_r1c0, Metal5, 15.915, 41.285, 0.31, 0.31, 4, 2, 9.53, 1.96)
A(array_w1_0_l0_35_r1c0, Metal5, 12.065, 44.315, 0.31, 0.31, 4, 3, 9.53, 0.84)
A(array_w1_0_l0_35_r1c0, TopVia1, 15.86, 11.65, 0.42, 0.42, 4, 2, 9.53, 1.96)
A(array_w1_0_l0_35_r1c0, TopVia1, 12.01, 14.68, 0.42, 0.42, 4, 3, 9.53, 0.84)
A(array_w1_0_l0_35_r1c0, TopVia1, 15.86, 21.51, 0.42, 0.42, 4, 2, 9.53, 1.96)
A(array_w1_0_l0_35_r1c0, TopVia1, 12.01, 24.54, 0.42, 0.42, 4, 3, 9.53, 0.84)
A(array_w1_0_l0_35_r1c0, TopVia1, 15.86, 31.37, 0.42, 0.42, 4, 2, 9.53, 1.96)
A(array_w1_0_l0_35_r1c0, TopVia1, 12.01, 34.4, 0.42, 0.42, 4, 3, 9.53, 0.84)
A(array_w1_0_l0_35_r1c0, TopVia1, 15.86, 41.23, 0.42, 0.42, 4, 2, 9.53, 1.96)
A(array_w1_0_l0_35_r1c0, TopVia1, 12.01, 44.26, 0.42, 0.42, 4, 3, 9.53, 0.84)
A(array_w1_0_l0_35_r1c0, TopMetal1, 11.22, -1.5, 2, 62.66, 4, 1, 9.53, 0)
A(array_w1_0_l0_35_r1c0, TopMetal1, 15.07, 11.21, 2, 3.26, 4, 4, 9.53, 9.86)
A(array_w1_0_l0_35_r1c0, TopMetal1, 11.22, 14.58, 2, 2.3, 4, 4, 9.53, 9.86)
A(array_w1_0_l0_35_r1c0, TopVia2, 15.62, 11.41, 0.9, 0.9, 4, 2, 9.53, 1.96)
A(array_w1_0_l0_35_r1c0, TopVia2, 15.62, 21.27, 0.9, 0.9, 4, 2, 9.53, 1.96)
A(array_w1_0_l0_35_r1c0, TopVia2, 15.62, 31.13, 0.9, 0.9, 4, 2, 9.53, 1.96)
A(array_w1_0_l0_35_r1c0, TopVia2, 15.62, 40.99, 0.9, 0.9, 4, 2, 9.53, 1.96)
A(array_w1_0_l0_35_r1c0, TopMetal2, -2, 10.86, 61.68, 2, 1, 4, 0, 9.86)
A(array_w1_0_l0_35_r1c0, TopMetal2, 15.07, 11.21, 2, 3.26, 4, 4, 9.53, 9.86)

lib.write_gds('Array_W1_0_L0_35_R1C0.gds')
